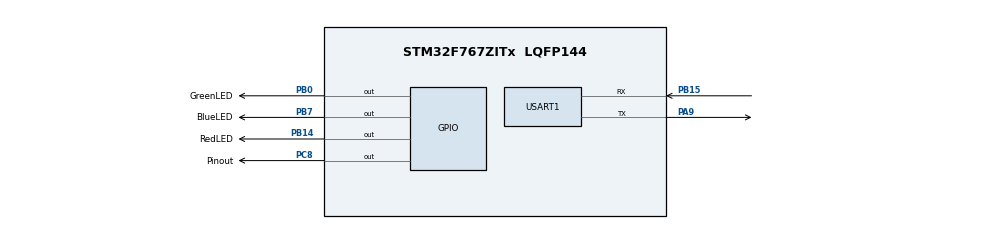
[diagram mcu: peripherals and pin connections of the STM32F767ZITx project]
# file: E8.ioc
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FREERTOS.BinarySemaphores01=blueBinarySemaphore,Dynamic,NULL
FREERTOS.Tasks01=ToggleGreen,0,128,StartToggleGreen,Default,NULL,Dynamic,NULL,NULL;ToggleRed,0,128,StartToggleRed,Default,NULL,Dynamic,NULL,NULL;ToggleYellow,-1,128,StartToggleYellow,Default,NULL,Dynamic,NULL,NULL
Mcu.Family=STM32F7
Mcu.Name=STM32F767ZITx
Mcu.Package=LQFP144
NVIC.PriorityGroup=NVIC_PRIORITYGROUP_4
NVIC.TIM1_UP_TIM10_IRQn=true\:0\:0\:false\:false\:true\:false\:false\:true
NVIC.TimeBase=TIM1_UP_TIM10_IRQn
NVIC.TimeBaseIP=TIM1
PA9.Mode=Asynchronous
PA9.Signal=USART1_TX
PB0.GPIO_Label=GreenLED
PB0.Signal=GPIO_Output
PB14.GPIO_Label=RedLED
PB14.Signal=GPIO_Output
PB15.Mode=Asynchronous
PB15.Signal=USART1_RX
PB7.GPIO_Label=BlueLED
PB7.Signal=GPIO_Output
PC8.GPIO_Label=Pinout
PC8.Signal=GPIO_Output
ProjectManager.HeapSize=0x200
ProjectManager.StackSize=0x400
ProjectManager.TargetToolchain=STM32CubeIDE
RCC.HSE_VALUE=25000000
RCC.HSI_VALUE=16000000
RCC.LSE_VALUE=32768
RCC.USBFreq_Value=96000000
RCC.VCOOutputFreq_Value=192000000
USART1.VirtualMode-Asynchronous=VM_ASYNC
VP_FREERTOS_VS_CMSIS_V1.Mode=CMSIS_V1
VP_SYS_VS_tim1.Mode=TIM1
board=custom

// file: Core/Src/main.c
/* USER CODE BEGIN Header */
/**
  ******************************************************************************
  * @file           : main.c
  * @brief          : Main program body
  ******************************************************************************
  * @attention
  *
  * <h2><center>&copy; Copyright (c) 2020 STMicroelectronics.
  * All rights reserved.</center></h2>
  *
  * This software component is licensed by ST under BSD 3-Clause license,
  * the "License"; You may not use this file except in compliance with the
  * License. You may obtain a copy of the License at:
  *                        opensource.org/licenses/BSD-3-Clause
  *
  ******************************************************************************
  */
/* USER CODE END Header */
#include "main.h"
#include "cmsis_os.h"

UART_HandleTypeDef huart1;

osThreadId ToggleGreenHandle;
osThreadId ToggleRedHandle;
osThreadId ToggleYellowHandle;
osSemaphoreId blueBinarySemaphoreHandle;

void SystemClock_Config(void);
static void MX_GPIO_Init(void);
static void MX_USART1_UART_Init(void);
void StartToggleGreen(void const * argument);
void StartToggleRed(void const * argument);
void StartToggleYellow(void const * argument);
void shared_function();

int flag = 1;

int main(void)
{

  /* MCU Configuration--------------------------------------------------------*/

  /* Reset of all peripherals, Initializes the Flash interface and the Systick. */
  HAL_Init();

  /* Configure the system clock */
  SystemClock_Config();

  /* Initialize all configured peripherals */
  MX_GPIO_Init();
  MX_USART1_UART_Init();

  /* Create the semaphores(s) */
  /* definition and creation of blueBinarySemaphore */
  osSemaphoreDef(blueBinarySemaphore);
  blueBinarySemaphoreHandle = osSemaphoreCreate(osSemaphore(blueBinarySemaphore), 1);

  /* Create the thread(s) */
  /* definition and creation of ToggleGreen */
  osThreadDef(ToggleGreen, StartToggleGreen, osPriorityNormal, 0, 128);
  ToggleGreenHandle = osThreadCreate(osThread(ToggleGreen), NULL);

  /* definition and creation of ToggleRed */
  osThreadDef(ToggleRed, StartToggleRed, osPriorityNormal, 0, 128);
  ToggleRedHandle = osThreadCreate(osThread(ToggleRed), NULL);

  /* definition and creation of ToggleYellow */
  osThreadDef(ToggleYellow, StartToggleYellow, osPriorityBelowNormal, 0, 128);
  ToggleYellowHandle = osThreadCreate(osThread(ToggleYellow), NULL);

  /* Start scheduler */
  osKernelStart();

  /* We should never get here as control is now taken by the scheduler */
  /* Infinite loop */
  while (1)
  {

  }
}

void SystemClock_Config(void)
{
  RCC_OscInitTypeDef RCC_OscInitStruct = {0};
  RCC_ClkInitTypeDef RCC_ClkInitStruct = {0};
  RCC_PeriphCLKInitTypeDef PeriphClkInitStruct = {0};

  /** Configure the main internal regulator output voltage
  */
  __HAL_RCC_PWR_CLK_ENABLE();
  __HAL_PWR_VOLTAGESCALING_CONFIG(PWR_REGULATOR_VOLTAGE_SCALE3);
  /** Initializes the RCC Oscillators according to the specified parameters
  * in the RCC_OscInitTypeDef structure.
  */
  RCC_OscInitStruct.OscillatorType = RCC_OSCILLATORTYPE_HSI;
  RCC_OscInitStruct.HSIState = RCC_HSI_ON;
  RCC_OscInitStruct.HSICalibrationValue = RCC_HSICALIBRATION_DEFAULT;
  RCC_OscInitStruct.PLL.PLLState = RCC_PLL_NONE;
  if (HAL_RCC_OscConfig(&RCC_OscInitStruct) != HAL_OK)
  {
    Error_Handler();
  }
  /** Initializes the CPU, AHB and APB buses clocks
  */
  RCC_ClkInitStruct.ClockType = RCC_CLOCKTYPE_HCLK|RCC_CLOCKTYPE_SYSCLK
                              |RCC_CLOCKTYPE_PCLK1|RCC_CLOCKTYPE_PCLK2;
  RCC_ClkInitStruct.SYSCLKSource = RCC_SYSCLKSOURCE_HSI;
  RCC_ClkInitStruct.AHBCLKDivider = RCC_SYSCLK_DIV1;
  RCC_ClkInitStruct.APB1CLKDivider = RCC_HCLK_DIV1;
  RCC_ClkInitStruct.APB2CLKDivider = RCC_HCLK_DIV1;

  if (HAL_RCC_ClockConfig(&RCC_ClkInitStruct, FLASH_LATENCY_0) != HAL_OK)
  {
    Error_Handler();
  }
  PeriphClkInitStruct.PeriphClockSelection = RCC_PERIPHCLK_USART1;
  PeriphClkInitStruct.Usart1ClockSelection = RCC_USART1CLKSOURCE_PCLK2;
  if (HAL_RCCEx_PeriphCLKConfig(&PeriphClkInitStruct) != HAL_OK)
  {
    Error_Handler();
  }
}

static void MX_USART1_UART_Init(void)
{

  huart1.Instance = USART1;
  huart1.Init.BaudRate = 115200;
  huart1.Init.WordLength = UART_WORDLENGTH_8B;
  huart1.Init.StopBits = UART_STOPBITS_1;
  huart1.Init.Parity = UART_PARITY_NONE;
  huart1.Init.Mode = UART_MODE_TX_RX;
  huart1.Init.HwFlowCtl = UART_HWCONTROL_NONE;
  huart1.Init.OverSampling = UART_OVERSAMPLING_16;
  huart1.Init.OneBitSampling = UART_ONE_BIT_SAMPLE_DISABLE;
  huart1.AdvancedInit.AdvFeatureInit = UART_ADVFEATURE_NO_INIT;
  if (HAL_UART_Init(&huart1) != HAL_OK)
  {
    Error_Handler();
  }

}

static void MX_GPIO_Init(void)
{
  GPIO_InitTypeDef GPIO_InitStruct = {0};

  /* GPIO Ports Clock Enable */
  __HAL_RCC_GPIOB_CLK_ENABLE();
  __HAL_RCC_GPIOC_CLK_ENABLE();
  __HAL_RCC_GPIOA_CLK_ENABLE();

  /*Configure GPIO pin Output Level */
  HAL_GPIO_WritePin(GPIOB, GreenLED_Pin|RedLED_Pin|BlueLED_Pin, GPIO_PIN_RESET);

  /*Configure GPIO pin Output Level */
  HAL_GPIO_WritePin(Pinout_GPIO_Port, Pinout_Pin, GPIO_PIN_RESET);

  /*Configure GPIO pins : GreenLED_Pin RedLED_Pin BlueLED_Pin */
  GPIO_InitStruct.Pin = GreenLED_Pin|RedLED_Pin|BlueLED_Pin;
  GPIO_InitStruct.Mode = GPIO_MODE_OUTPUT_PP;
  GPIO_InitStruct.Pull = GPIO_NOPULL;
  GPIO_InitStruct.Speed = GPIO_SPEED_FREQ_LOW;
  HAL_GPIO_Init(GPIOB, &GPIO_InitStruct);

  /*Configure GPIO pin : Pinout_Pin */
  GPIO_InitStruct.Pin = Pinout_Pin;
  GPIO_InitStruct.Mode = GPIO_MODE_OUTPUT_PP;
  GPIO_InitStruct.Pull = GPIO_NOPULL;
  GPIO_InitStruct.Speed = GPIO_SPEED_FREQ_LOW;
  HAL_GPIO_Init(Pinout_GPIO_Port, &GPIO_InitStruct);

}

/* USER CODE BEGIN 4 */

void shared_function() {
    if( flag == 1){
        flag = 0;
        HAL_Delay(3000);
        flag = 1;
        HAL_GPIO_WritePin(BlueLED_GPIO_Port, BlueLED_Pin, GPIO_PIN_RESET);
    } else {
        // Show an alert turning the blue led on
        HAL_GPIO_WritePin(BlueLED_GPIO_Port, BlueLED_Pin, GPIO_PIN_SET);
    }
}

/* USER CODE END 4 */

void StartToggleGreen(void const * argument)
{
  /* USER CODE BEGIN 5 */
  /* Infinite loop */
  for(;;)
  {
	HAL_GPIO_WritePin(GreenLED_GPIO_Port, GreenLED_Pin, GPIO_PIN_SET);
	osDelay(5000);
	taskDISABLE_INTERRUPTS();
//	taskENTER_CRITICAL();
//	shared_function();
//	taskEXIT_CRITICAL();
	osSemaphoreWait(blueBinarySemaphoreHandle, 100);
	shared_function();
	osSemaphoreRelease(blueBinarySemaphoreHandle);
	taskENABLE_INTERRUPTS();
	HAL_GPIO_WritePin(GreenLED_GPIO_Port, GreenLED_Pin, GPIO_PIN_RESET);
	osDelay(500);
  }
  /* USER CODE END 5 */
}

void StartToggleRed(void const * argument)
{
  /* USER CODE BEGIN StartToggleRed */
  /* Infinite loop */
  for(;;)
  {
	  HAL_GPIO_WritePin(RedLED_GPIO_Port, RedLED_Pin, GPIO_PIN_SET);
	  osDelay(2000);
	  taskDISABLE_INTERRUPTS();
//	  taskENTER_CRITICAL();
//	  shared_function();
//	  taskEXIT_CRITICAL();
	  osSemaphoreWait(blueBinarySemaphoreHandle, 100);
	  shared_function();
	  osSemaphoreRelease(blueBinarySemaphoreHandle);
	  taskENABLE_INTERRUPTS();
	  HAL_GPIO_WritePin(RedLED_GPIO_Port, RedLED_Pin, GPIO_PIN_RESET);
	  osDelay(500);
  }
  /* USER CODE END StartToggleRed */
}

void StartToggleYellow(void const * argument)
{
  /* USER CODE BEGIN StartToggleYellow */
  /* Infinite loop */
  for(;;)
  {
	  HAL_GPIO_WritePin(Pinout_GPIO_Port, Pinout_Pin, GPIO_PIN_SET);
	  osDelay(10000);
	  taskDISABLE_INTERRUPTS();
//	  taskENTER_CRITICAL();
//	  shared_function();
//	  taskEXIT_CRITICAL();
	  osSemaphoreWait(blueBinarySemaphoreHandle, 100);
	  shared_function();
	  osSemaphoreRelease(blueBinarySemaphoreHandle);
	  taskENABLE_INTERRUPTS();
	  HAL_GPIO_WritePin(Pinout_GPIO_Port, Pinout_Pin, GPIO_PIN_RESET);
	  osDelay(500);
  }
  /* USER CODE END StartToggleYellow */
}

void HAL_TIM_PeriodElapsedCallback(TIM_HandleTypeDef *htim)
{
  if (htim->Instance == TIM1) {
    HAL_IncTick();
  }
}

void Error_Handler(void)
{
}

/************************ (C) COPYRIGHT STMicroelectronics *****END OF FILE****/
